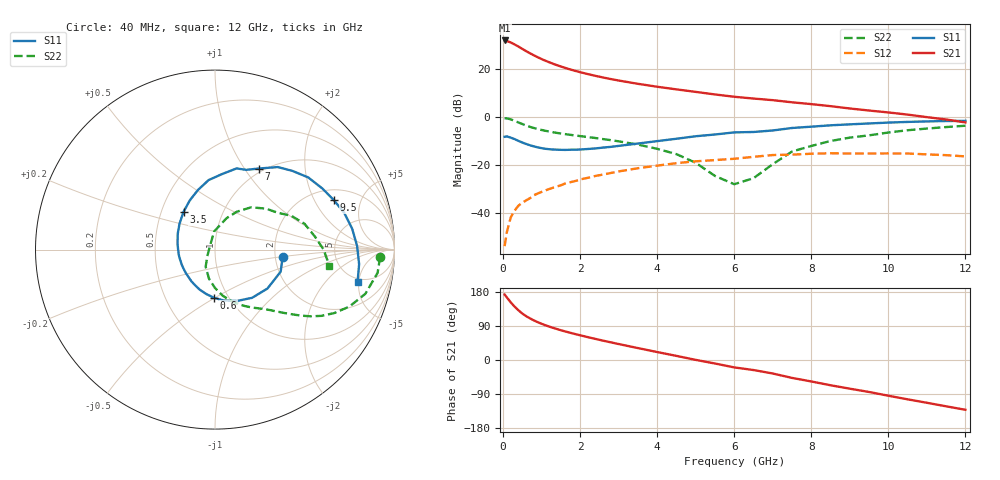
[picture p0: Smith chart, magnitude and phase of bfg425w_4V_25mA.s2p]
! Filename: 425bfg425.001
! BFG425W Field C1
! V1=8.370E-001V,V2=4.000E+000V, I1=3.089E-004A, I2=2.505E-002A
# GHz  S  MA  R 50
!  S11  S21  S12  S22
!Freq(GHz)  Mag  Ang  Mag  Ang  Mag  Ang  Mag  Ang
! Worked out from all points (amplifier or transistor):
!   44 points, 40 MHz to 12 GHz, reference 50 ohm
!   highest |S21| = 31.7 dB at 40 MHz (marker M1)
!   |S21| within 3 dB of that: start of sweep to 445.6 MHz
!   unconditionally stable (mu >= 1): start of sweep to 44.69 MHz; 1.233 GHz to end of sweep
!   at 700 MHz: K = 0.81, MSG = 30.2 dB, |S12| = -34.0 dB
!   at 2.4 GHz: K = 1.15, MAG = 18.5 dB, |S12| = -24.7 dB
!   at 12 GHz: K = 1.34, MAG = 3.6 dB, |S12| = -16.6 dB
!   S11 on the Smith chart (normalised r, x): 40 MHz: 2.19, -0.21; 600 MHz: 0.86, -0.49; 3.5 GHz: 0.65, +0.30; 7 GHz: 0.95, +1.16; 9.5 GHz: 2.57, +2.91; 12 GHz: 4.42, -4.83
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0.04  0.379 -6.3  38.41 172.9  0.002 55.9  0.921 -2.5
0.1  0.386 -18.6  37.26 165.0  0.004 77.3  0.915 -8.2
0.2  0.364 -36.6  34.87 151.9  0.008 73.4  0.873 -16.4
0.3  0.339 -52.4  31.75 140.8  0.011 70.1  0.813 -23.0
0.4  0.311 -67.1  28.57 131.1  0.014 67.7  0.752 -28.1
0.5  0.288 -80.2  25.63 122.5  0.016 65.6  0.698 -31.9
0.6  0.268 -91.4  22.99 115.7  0.018 64.2  0.65 -34.9
0.7  0.252 -101.4  20.74 109.8  0.02 63.2  0.61 -37.2
0.9  0.228 -118.9  17.17 99.8  0.025 61.8  0.549 -40.7
1.2  0.209 -140.0  13.48 88.1  0.031 60.0  0.487 -45.1
1.6  0.202 -162.7  10.38 75.7  0.04 57.3  0.432 -50.3
2.2  0.211 171.1  7.656 60.3  0.053 51.7  0.374 -58.9
2.8  0.234 149.9  6.03 46.5  0.067 44.8  0.322 -68.3
3.5  0.274 129.8  4.806 31.5  0.084 35.5  0.261 -80.5
4.5  0.345 106.1  3.68 10.8  0.107 20.8  0.165 -101.8
5.5  0.423 84.6  2.885 -9.3  0.124 5.2  0.058 -138.3
6.5  0.477 68.6  2.372 -26.5  0.145 -7.0  0.052 112.6
7  0.513 61.7  2.195 -35.6  0.158 -14.7  0.102 92.5
8.5  0.657 37.7  1.646 -66.7  0.172 -44.1  0.31 49.5
9.5  0.718 22.5  1.335 -84.4  0.17 -60.8  0.406 30.3
10.5  0.773 8.7  1.098 -103.8  0.17 -79.5  0.519 16.1
12  0.815 -13.0  0.755 -131.3  0.148 -109.5  0.644 -8.0
